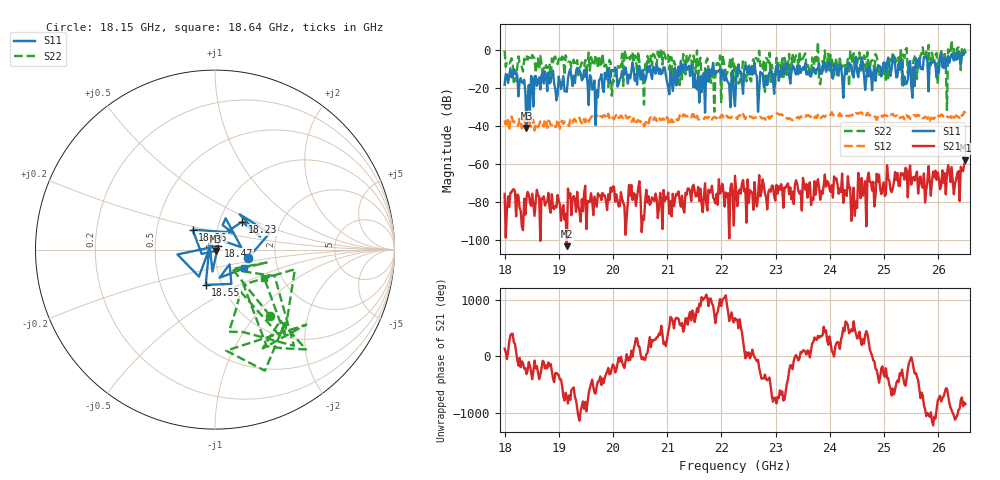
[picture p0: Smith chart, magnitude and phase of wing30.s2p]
!Keysight Technologies,N5242B,MY47200105,A.14.00.23
!Date: Friday, May 10, 2024 11:00:21
!Correction: S11(C  2-Port  )
!S21(C  2-Port  )
!S12(C  2-Port  )
!S22(C  2-Port  )
!S2P File: Measurement: :
# Hz S  RI  R 50
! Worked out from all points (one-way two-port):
!   401 points, 18 GHz to 26.5 GHz, reference 50 ohm
!   highest |S21| = -58.17 dB at 26.5 GHz (marker M1); lowest = -103.4 dB at 19.15 GHz (marker M2)
!   lowest |S11| = -41.0 dB at 18.4 GHz (marker M3), VSWR 1.02, Z = 50.5 - j0.728 ohm
!   |S11| at or under -10 dB: 18.17 GHz to 19.21 GHz (1.04 GHz wide, 5.56 % of centre); 19.35 GHz to 19.9 GHz (553 MHz wide, 2.82 % of centre); 22.62 GHz to 23.01 GHz (382 MHz wide, 1.67 % of centre) (the widest 3 of 66)
!   |S22| runs from -32.4 to 5.2 dB; largest |S21 - S12| = 0.024
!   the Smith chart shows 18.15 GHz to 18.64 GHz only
!   S11 on the Smith chart (normalised r, x): 18.15 GHz: 1.44, -0.15; 18.23 GHz: 1.28, +0.42; 18.36 GHz: 0.76, +0.17; 18.47 GHz: 1.03, +0.04; 18.55 GHz: 0.84, -0.34; 18.64 GHz: 1.35, -0.29
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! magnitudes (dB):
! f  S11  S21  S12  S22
! 18 GHz  -18.2  -75.8  -37.0  -0.1
! 18.15 GHz  -14.4  -73.5  -37.0  -6.4
! 18.23 GHz  -13.3  -76.2  -39.3  -8.8
! 18.36 GHz  -15.6  -78.4  -36.3  -4.5
! 18.4 GHz  -41.0  -77.6  -38.8  -2.7
! 18.47 GHz  -31.4  -80.4  -39.1  -4.3
! 18.55 GHz  -13.8  -87.4  -42.3  -4.3
! 18.64 GHz  -14.3  -77.3  -39.2  -10.1
! 19.15 GHz  -21.9  -103.4  -38.0  -4.3
! 19.42 GHz  -15.8  -78.6  -38.5  -6.4
! 19.68 GHz  -39.5  -79.8  -33.6  -2.5
! 20.02 GHz  -11.2  -72.1  -36.4  -16.5
! 20.25 GHz  -12.8  -87.9  -35.7  -4.3
! 20.55 GHz  -10.4  -87.6  -38.0  -13.8
! 20.85 GHz  -12.5  -83.4  -35.3  -4.7
! 21.23 GHz  -13.5  -79.5  -34.3  -18.4
! 21.4 GHz  -8.2  -73.0  -34.3  -4.5
! 22.25 GHz  -29.4  -66.2  -34.8  -16.4
! 23.67 GHz  -11.0  -78.0  -36.3  -3.8
! 25.1 GHz  -8.3  -68.8  -33.4  -5.7
! 25.39 GHz  -17.9  -62.0  -34.4  0.4
! 26.5 GHz  -1.1  -58.2  -33.2  0.8
